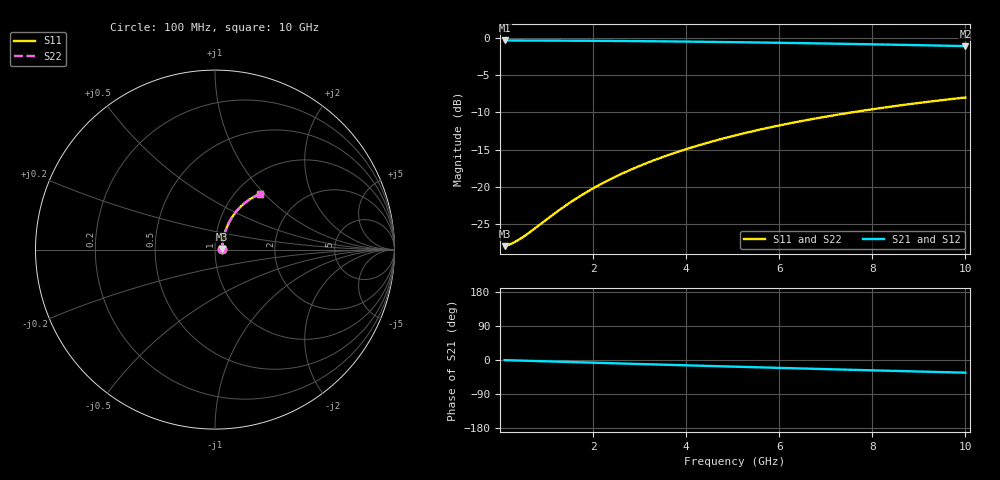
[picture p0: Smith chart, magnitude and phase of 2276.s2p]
# Hz S RI R 50.00
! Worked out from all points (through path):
!   100 points, 100 MHz to 10 GHz, reference 50 ohm
!   highest |S21| = -0.35 dB at 100 MHz (marker M1); lowest = -1.1 dB at 10 GHz (marker M2)
!   group delay of S21, straight-line fit = 9.33 ps
!   lowest |S11| = -28.0 dB at 100 MHz (marker M3), VSWR 1.08, Z = 54.1 + j0.456 ohm
!   |S11| at or under -10 dB: start of sweep to 7.564 GHz
!   |S22| runs from -28.0 to -8.0 dB; largest |S21 - S12| = 0
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1e8  0.0398 0.00421  0.9602 -0.00595  0.9602 -0.00595  0.0398 0.00421
2e8  0.0401 0.00841  0.9599 -0.0119  0.9599 -0.0119  0.0401 0.00841
3e8  0.0404 0.0126  0.9595 -0.0178  0.9595 -0.0178  0.0404 0.0126
5e8  0.0411 0.021  0.9588 -0.0297  0.9588 -0.0297  0.0411 0.021
7e8  0.042 0.0293  0.958 -0.0415  0.958 -0.0415  0.042 0.0293
1.3e9  0.0455 0.0542  0.9542 -0.0769  0.9542 -0.0769  0.0455 0.0542
1.6e9  0.0479 0.0665  0.9516 -0.0944  0.9516 -0.0944  0.0479 0.0665
1.8e9  0.0498 0.0747  0.9497 -0.106  0.9497 -0.106  0.0498 0.0747
2.1e9  0.0529 0.0867  0.9464 -0.1233  0.9464 -0.1233  0.0529 0.0867
2.5e9  0.0578 0.1026  0.9412 -0.1462  0.9412 -0.1462  0.0578 0.1026
2.9e9  0.0633 0.1182  0.9353 -0.1687  0.9353 -0.1687  0.0633 0.1182
3.4e9  0.0713 0.1371  0.9269 -0.1964  0.9269 -0.1964  0.0713 0.1371
3.8e9  0.0784 0.1518  0.9193 -0.2181  0.9193 -0.2181  0.0784 0.1518
4.2e9  0.0862 0.1661  0.911 -0.2394  0.911 -0.2394  0.0862 0.1661
4.6e9  0.0946 0.1799  0.902 -0.2602  0.902 -0.2602  0.0946 0.1799
5.1e9  0.106 0.1964  0.8899 -0.2855  0.8899 -0.2855  0.106 0.1964
5.9e9  0.1258 0.2211  0.8687 -0.3242  0.8687 -0.3242  0.1258 0.2211
6.7e9  0.1476 0.2435  0.8453 -0.3606  0.8453 -0.3606  0.1476 0.2435
7.5e9  0.1708 0.2634  0.8203 -0.3947  0.8203 -0.3947  0.1708 0.2634
8.4e9  0.1984 0.2828  0.7903 -0.4301  0.7903 -0.4301  0.1984 0.2828
9.2e9  0.2239 0.2974  0.7626 -0.4589  0.7626 -0.4589  0.2239 0.2974
1e10  0.25 0.3094  0.734 -0.4853  0.734 -0.4853  0.25 0.3094
